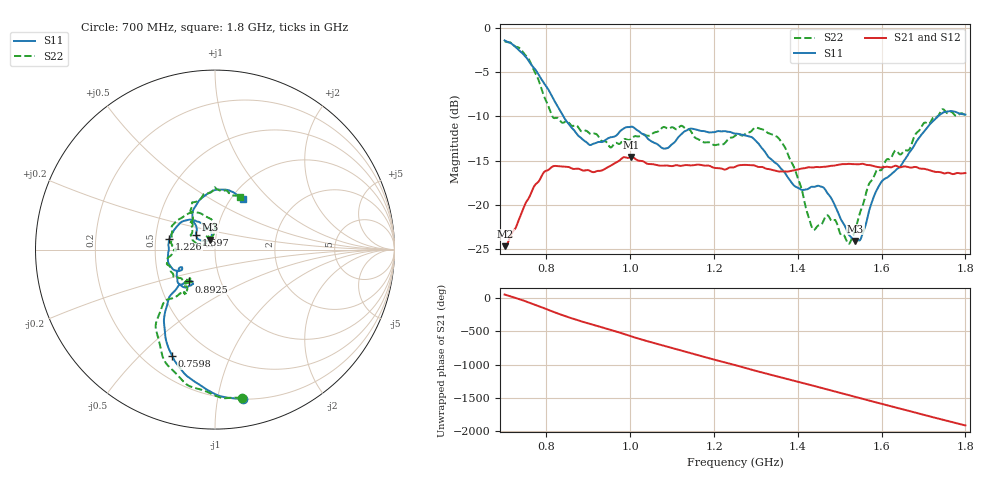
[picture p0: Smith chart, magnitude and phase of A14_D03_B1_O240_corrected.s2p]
! Created with skrf 1.9.0 (http://scikit-rf.org).
# Hz S RI R 50.0
!freq ReS11 ImS11 ReS21 ImS21 ReS12 ImS12 ReS22 ImS22
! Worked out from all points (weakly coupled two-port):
!   1601 points, 700 MHz to 1.8 GHz, reference 50 ohm
!   highest |S21| = -14.58 dB at 1.002 GHz (marker M1); lowest = -24.6 dB at 701.4 MHz (marker M2)
!   lowest |S11| = -24.0 dB at 1.537 GHz (marker M3), VSWR 1.13, Z = 47 + j5.29 ohm
!   |S11| at or under -10 dB: 840.2 MHz to 1.734 GHz (894.1 MHz wide, 69.5 % of centre)
!   |S22| runs from -24.4 to -1.5 dB; largest |S21 - S12| = 0.0035
!   S11 on the Smith chart (normalised r, x): 700 MHz: 0.20, -1.19; 759.8 MHz: 0.31, -0.63; 892.5 MHz: 0.71, -0.26; 1.226 GHz: 0.59, +0.07; 1.597 GHz: 0.80, +0.13; 1.8 GHz: 1.13, +0.72
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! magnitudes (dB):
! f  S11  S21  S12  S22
! 700 MHz  -1.4  -24.6  -24.4  -1.5
! 701.4 MHz  -1.5  -24.6  -24.3  -1.5
! 759.8 MHz  -3.9  -19.0  -18.9  -3.7
! 814.8 MHz  -7.9  -15.6  -15.7  -10.1
! 883.6 MHz  -12.5  -16.0  -15.9  -11.7
! 892.5 MHz  -12.8  -16.1  -16.1  -11.6
! 953 MHz  -12.3  -15.6  -15.6  -13.5
! 1.002 GHz  -11.1  -14.6  -14.7  -12.5
! 1.067 GHz  -13.2  -15.5  -15.5  -11.7
! 1.226 GHz  -11.6  -16.0  -15.9  -13.0
! 1.25 GHz  -11.9  -15.7  -15.6  -12.2
! 1.355 GHz  -15.6  -16.2  -16.1  -12.5
! 1.394 GHz  -17.9  -16.0  -16.0  -16.1
! 1.434 GHz  -17.9  -15.8  -15.7  -22.5
! 1.471 GHz  -18.7  -15.6  -15.6  -21.2
! 1.522 GHz  -23.3  -15.3  -15.4  -24.4
! 1.537 GHz  -24.0  -15.4  -15.4  -22.7
! 1.569 GHz  -20.8  -15.5  -15.5  -17.7
! 1.597 GHz  -17.5  -15.7  -15.7  -16.1
! 1.617 GHz  -16.8  -15.7  -15.7  -14.8
! 1.739 GHz  -9.8  -16.3  -16.3  -9.6
! 1.8 GHz  -9.8  -16.4  -16.4  -9.9
